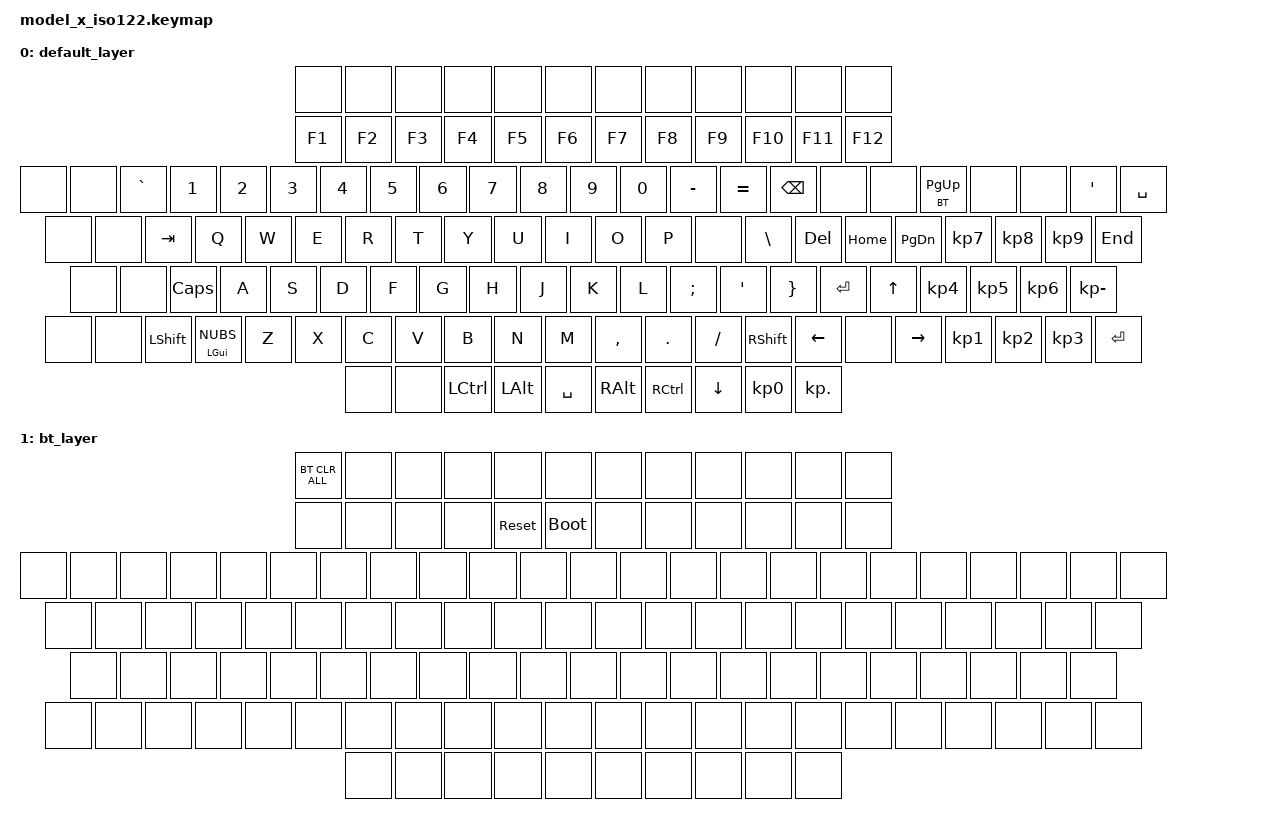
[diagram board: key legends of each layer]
/*
 * Copyright (c) 2020 The ZMK Contributors
 *
 * SPDX-License-Identifier: MIT
 */

#include <behaviors.dtsi>
#include <dt-bindings/zmk/keys.h>
#include <dt-bindings/zmk/bt.h>
#include <dt-bindings/zmk/outputs.h>
#include <dt-bindings/zmk/ext_power.h>

#define DEFAULT 0
#define BT      1


/ {
    keymap {
        compatible = "zmk,keymap";


        default_layer {
        //                          -------------------------------------------------------------------------------------------------
        //                          | PF13  | PF14  | PF15  | PF16  | PF17  | PF18  | PF19  | PF20  | PF21  | PF22  | PF23  | PF24  |
        //                          | PF1   | PF2   | PF3   | PF4   | PF5   | PF6   | PF7   | PF8   | PF9   | PF10  | PF11  | PF12  |
        //  -------------------------------------------------------------------------------------------------------------------------------------------------
        //  | Attn  | Clear |       |  `    |  1    |  2    |  3    |  4    |  5    |  6    |  7    |  8    |  9    |  0    |  -    |  =    |   BKSP        |       | PA1   | PA2   | Blank |       | BLANK | BLANK | '     | Space |
        //  | Blank | ErImp |       |    TAB    |  Q    |  W    |  E    |  R    |  T    |  Y    |  U    |  I    |  O    |  P    |  Cent |   \   |   (ENTER) |       |DELETE | Home  |  ??   |       | KP 7  | KP 8  | KP 9  | END   |
        //  | ExSel | ErEOF |       | CAPS        |   A   |   S   |   D   |   F   |   G   |   H   |   J   |   K   |   L   |   ;   |   '   |   }   |  ENTER  |               |  UP   |               | KP 4  | KP 5  | KP 6  | KP -  |
        //  | Print |  Test |       | LSHIFT  |   <>  |   Z   |   X   |   C   |   V   |   B   |   N   |   M   |   ,   |   .   |   /   |        RSHIFT       |       | LEFT  | Blank | RIGHT |       | KP 1  | KP 2  | KP 3  | K ENT |
        //  |  ??   |  ??   |       |   Reset   |       |    ALT    |                        SPACE                          |    ALT    |       |   Enter   |               | DOWN  |               |     KP 0      | KP .  |(K ENT)|
        //  -------------------------------------------------------------------------------------------------------------------------------------------------
            bindings = <
        //                          -------------------------------------------------------------------------------------------------
        //                          | PF13  | PF14  | PF15  | PF16  | PF17  | PF18  | PF19  | PF20  | PF21  | PF22  | PF23  | PF24  |
                                     &none   &none   &none   &none   &none   &none   &none   &none   &none   &none   &none   &none

        //                          | PF1   | PF2   | PF3   | PF4   | PF5   | PF6   | PF7   | PF8   | PF9   | PF10  | PF11  | PF12  |
                                     &kp F1  &kp F2  &kp F3  &kp F4  &kp F5  &kp F6  &kp F7  &kp F8  &kp F9  &kp F10 &kp F11 &kp F12

        //  -------------------------------------------------------------------------------------------------------------------------------------------------
        //  | Attn  | Clear |       |  `    |  1    |  2    |  3    |  4    |  5    |  6    |  7    |  8    |  9    |  0    |  -    |  =    |   BKSP        |       | PA1   | PA2   | Blank |       | BLANK | BLANK | '     | Space |
              &none  &none         &kp GRAVE &kp N1  &kp N2  &kp N3  &kp N4  &kp N5  &kp N6  &kp N7  &kp N8  &kp N9 &kp N0 &kp MINUS &kp EQUAL   &kp BSPC          &none    &none  &lt BT PG_UP      &none   &none  &kp SQT &kp SPACE

        //  | Blank | ErImp |       |    TAB    |  Q    |  W    |  E    |  R    |  T    |  Y    |  U    |  I    |  O    |  P    |  Cent |   \   |   (ENTER) |       |DELETE | Home  |  ??   |       | KP 7  | KP 8  | KP 9  | END   |
              &none  &none            &kp TAB   &kp Q     &kp W   &kp E  &kp R   &kp T   &kp Y   &kp U   &kp I   &kp O   &kp P    &none  &kp BSLH                   &kp DEL  &kp HOME &kp PG_DN  &kp KP_N7 &kp KP_N8 &kp KP_N9 &kp END

        //  | ExSel | ErEOF |       | CAPS        |   A   |   S   |   D   |   F   |   G   |   H   |   J   |   K   |   L   |   ;   |   '   |   }   |  ENTER  |               |  UP   |               | KP 4  | KP 5  | KP 6  | KP -  |
              &none  &none             &kp CLCK    &kp A   &kp S   &kp D   &kp F   &kp G   &kp H   &kp J   &kp K   &kp L  &kp SEMI &kp SQT &kp RBRC  &kp RET                 &kp UP              &kp KP_N4 &kp KP_N5 &kp KP_N6 &kp KP_MINUS

        //  | Print |  Test |       | LSHIFT  |   <>  |   Z   |   X   |   C   |   V   |   B   |   N   |   M   |   ,   |   .   |   /   |        RSHIFT       |       | LEFT  | Blank | RIGHT |       | KP 1  | KP 2  | KP 3  | K ENT |
              &none  &none        &kp LSHFT &mt LGUI NUBS &kp Z &kp X   &kp C  &kp V   &kp B   &kp N   &kp M  &kp COMMA &kp DOT &kp FSLH     &kp RSHFT              &kp LEFT  &none  &kp RIGHT   &kp KP_N1 &kp KP_N2 &kp KP_N3 &kp RET

        //  |  ??   |  ??   |       |   Reset   |       |    ALT    |                        SPACE                          |    ALT    |       |   Enter   |               | DOWN  |               |     KP 0      | KP .  |(K ENT)|
              &none  &none           &kp LCTRL            &kp LALT                        &kp SPACE                            &kp RALT          &kp RCTRL                  &kp DOWN                   &kp KP_N0    &kp KP_DOT                              
        //  -------------------------------------------------------------------------------------------------------------------------------------------------
            >;
        };

        bt_layer {
        // PF13 BT_CLR_ALL
        // PF5 RESET
        // PF6 BOOTLDR
        // ------------------------------------------------------------------------------------------
        
            bindings = <
        //                          -------------------------------------------------------------------------------------------------
        //                          | PF13  | PF14  | PF15  | PF16  | PF17  | PF18  | PF19  | PF20  | PF21  | PF22  | PF23  | PF24  |
                              &bt BT_CLR_ALL  &none  &none   &none   &none   &none   &none   &none   &none   &none   &none   &none

        //                          | PF1   | PF2   | PF3   | PF4   | PF5   | PF6   | PF7   | PF8   | PF9   | PF10  | PF11  | PF12  |
                                     &none   &none   &none  &none &sys_reset &bootloader &none &none &none   &none   &none   &none

        //  -------------------------------------------------------------------------------------------------------------------------------------------------
        //  | Attn  | Clear |       |  `    |  1    |  2    |  3    |  4    |  5    |  6    |  7    |  8    |  9    |  0    |  -    |  =    |   BKSP        |       | PA1   | PA2   | Blank |       | BLANK | BLANK | '     | Space |
              &none  &none         &none    &none   &none   &none   &none   &none   &none   &none   &none   &none   &none   &none    &none        &none               &none   &none   &none          &none    &none  &none   &none

        //  | Blank | ErImp |       |    TAB    |  Q    |  W    |  E    |  R    |  T    |  Y    |  U    |  I    |  O    |  P    |  Cent |   \   |   (ENTER) |       |DELETE | Home  |  ??   |       | KP 7  | KP 8  | KP 9  | END   |
              &none  &none           &none       &none   &none   &none   &none   &none   &none   &none   &none   &none   &none   &none   &none                        &none   &none   &none          &none    &none  &none   &none

        //  | ExSel | ErEOF |       | CAPS        |   A   |   S   |   D   |   F   |   G   |   H   |   J   |   K   |   L   |   ;   |   '   |   }   |  ENTER  |               |  UP   |               | KP 4  | KP 5  | KP 6  | KP -  |
              &none  &none           &none         &none   &none   &none   &none   &none   &none   &none   &none   &none   &none   &none   &none   &none                      &none                  &none    &none  &none   &none

        //  | Print |  Test |       | LSHIFT  |   <>  |   Z   |   X   |   C   |   V   |   B   |   N   |   M   |   ,   |   .   |   /   |        RSHIFT       |       | LEFT  | Blank | RIGHT |       | KP 1  | KP 2  | KP 3  | K ENT |
              &none  &none           &none     &none   &none   &none   &none   &none   &none   &none   &none   &none   &none   &none            &none                 &none   &none   &none          &none    &none  &none   &none

        //  |  ??   |  ??   |       |   Reset   |       |    ALT    |                        SPACE                          |    ALT    |       |   Enter   |               | DOWN  |               |     KP 0      | KP .  |(K ENT)|
              &none  &none           &none                  &none                            &none                              &none               &none                     &none                       &none      &none
        //  -------------------------------------------------------------------------------------------------------------------------------------------------
            >;
        };
        
        extra1 {
            status = "reserved";
        };

        extra2 {
            status = "reserved";
        };
    };
};
